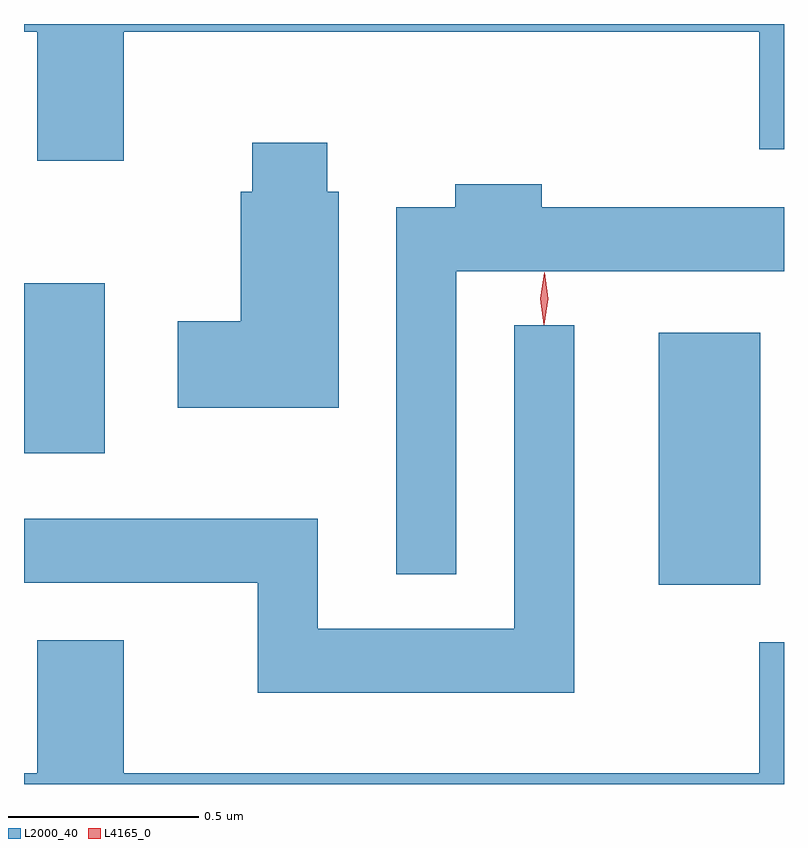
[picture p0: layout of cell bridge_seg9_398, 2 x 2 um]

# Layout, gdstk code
import gdstk
lib = gdstk.Library(unit=1e-6, precision=1e-09)
def R(c, l, rs):  # rectangles x0, y0, x1, y1
    for r in rs: c.add(gdstk.rectangle(r[:2], r[2:], *l))
def P(c, l, *ps):  # polygons
    for p in ps: c.add(gdstk.Polygon(p, *l))
L2000_40 = (2000, 40)
L4165_0 = (4165, 0)

bridge_seg9_398 = lib.new_cell('bridge_seg9_398')
R(bridge_seg9_398, L2000_40, [(992.996,1990.361,993.264,1991.024), (991.326,1990.706,991.539,1991.154)])
P(bridge_seg9_398, L2000_40, [(991.589,1991.816),(993.261,1991.816),(993.261,1991.506),(993.326,1991.506),(993.326,1991.836),(991.326,1991.836),(991.326,1991.816),(991.361,1991.816),(991.361,1991.476),(991.589,1991.476)],
  [(992.154,1991.394),(992.124,1991.394),(992.124,1991.524),(991.926,1991.524),(991.926,1991.394),(991.896,1991.394),(991.896,1991.054),(991.731,1991.054),(991.731,1990.826),(992.154,1990.826)],
  [(992.464,1991.186),(993.326,1991.186),(993.326,1991.354),(992.689,1991.354),(992.689,1991.414),(992.461,1991.414),(992.461,1991.354),(992.306,1991.354),(992.306,1990.388),(992.464,1990.388)],
  [(992.774,1991.043),(992.616,1991.043),(992.616,1990.244),(992.099,1990.244),(992.099,1990.534),(991.326,1990.534),(991.326,1990.366),(991.941,1990.366),(991.941,1990.076),(992.774,1990.076)],
  [(993.326,1990.209),(993.261,1990.209),(993.261,1989.864),(991.589,1989.864),(991.589,1990.214),(991.361,1990.214),(991.361,1989.864),(991.326,1989.864),(991.326,1989.836),(993.326,1989.836)])
P(bridge_seg9_398, L4165_0, [(992.694,1991.044),(992.685,1991.113),(992.695,1991.182),(992.696,1991.183),(992.696,1991.182),(992.705,1991.113),(992.695,1991.044),(992.695,1991.044)])

lib.write_gds('bridge_seg9_398.gds')
